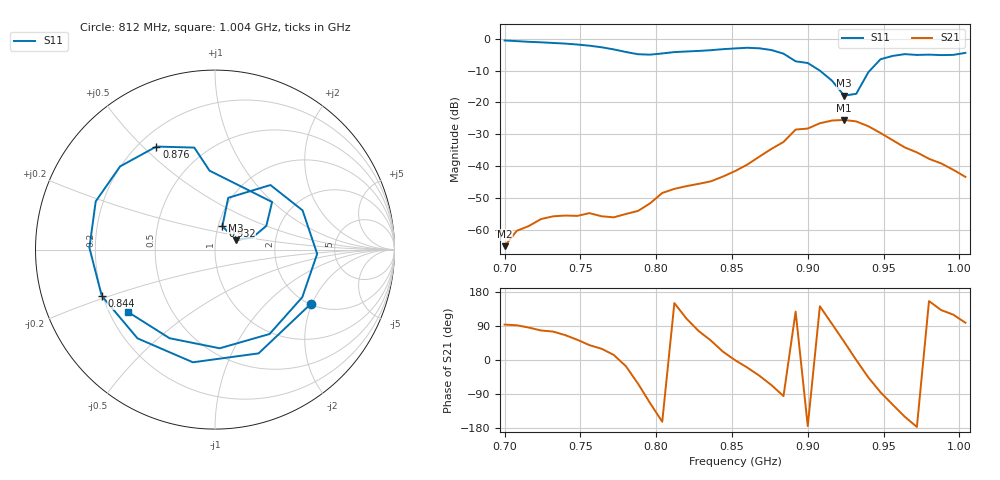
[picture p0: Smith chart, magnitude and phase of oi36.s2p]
# Hz S RI R 50
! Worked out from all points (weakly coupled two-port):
!   39 points, 700 MHz to 1.004 GHz, reference 50 ohm
!   highest |S21| = -25.44 dB at 924 MHz (marker M1); lowest = -64.9 dB at 700 MHz (marker M2)
!   lowest |S11| = -17.9 dB at 924 MHz (marker M3), VSWR 1.29, Z = 62.7 + j6.9 ohm
!   |S11| at or under -10 dB: 907.9 MHz to 941 MHz (33.16 MHz wide, 3.59 % of centre)
!   S12 and S22 are empty: the file has one direction only
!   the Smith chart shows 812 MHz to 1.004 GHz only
!   S11 on the Smith chart (normalised r, x): 812 MHz: 2.02, -1.96; 844 MHz: 0.20, -0.19; 876 MHz: 0.27, +0.55; 932 MHz: 1.05, +0.28; 1.004 GHz: 0.28, -0.30
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7e8  0.7652 0.533  -3.44e-05 0.000567  0 0  0 0
7.24e8  0.8342 -0.254  0.000315 0.00147  0 0  0 0
7.4e8  0.45 -0.7005  0.000704 0.00156  0 0  0 0
7.56e8  -0.1949 -0.7472  0.00145 0.00118  0 0  0 0
7.72e8  -0.6495 -0.1864  0.00156 0.000371  0 0  0 0
7.8e8  -0.5717 0.2291  0.00174 -0.000506  0 0  0 0
7.88e8  -0.2207 0.5237  0.000936 -0.00179  0 0  0 0
7.96e8  0.2597 0.4954  -0.00108 -0.00243  0 0  0 0
8.04e8  0.5676 0.1376  -0.00368 -0.00113  0 0  0 0
8.12e8  0.5339 -0.3024  -0.00388 0.00222  0 0  0 0
8.28e8  -0.1232 -0.6278  0.00125 0.0052  0 0  0 0
8.44e8  -0.6312 -0.2575  0.00644 0.00263  0 0  0 0
8.52e8  -0.6997 0.0102  0.00846 -4.78e-05  0 0  0 0
8.76e8  -0.3267 0.5741  0.00762 -0.0172  0 0  0 0
9e8  0.3181 0.2652  -0.039 -0.00384  0 0  0 0
9.08e8  0.2859 0.1319  -0.0372 0.0293  0 0  0 0
9.24e8  0.1159 0.0542  0.0357 0.0398  0 0  0 0
9.32e8  0.041 0.1305  0.0506 -0.000101  0 0  0 0
9.48e8  0.309 0.3597  0.00283 -0.0332  0 0  0 0
9.56e8  0.4879 0.2184  -0.012 -0.0228  0 0  0 0
9.8e8  0.304 -0.4702  -0.012 0.00546  0 0  0 0
1.004e9  -0.4845 -0.3477  -0.000998 0.0068  0 0  0 0
